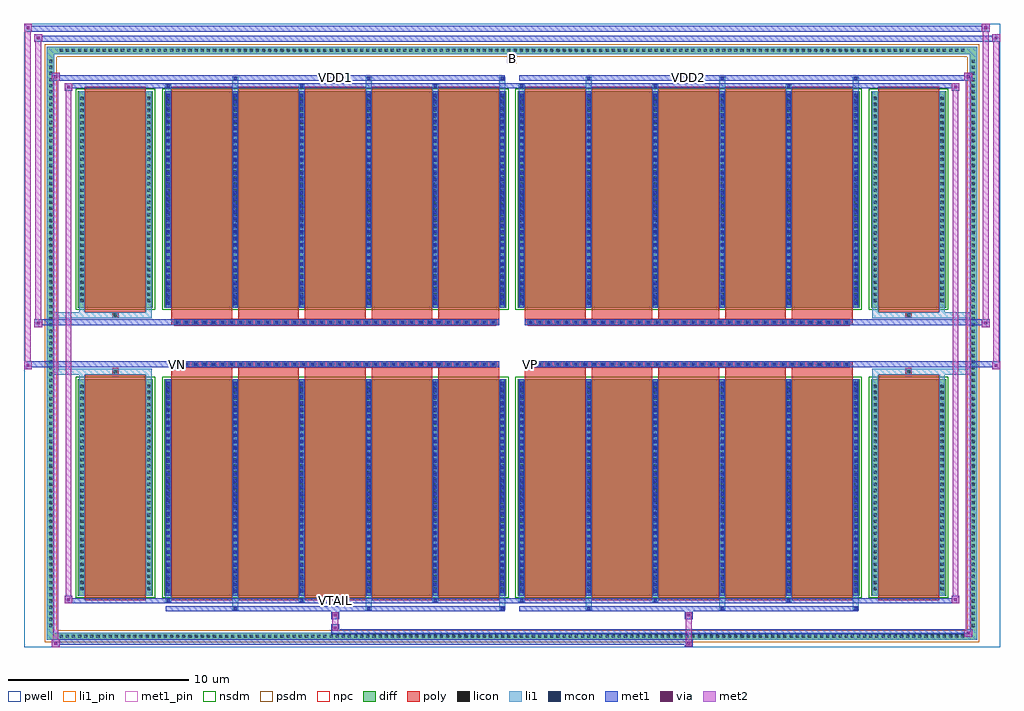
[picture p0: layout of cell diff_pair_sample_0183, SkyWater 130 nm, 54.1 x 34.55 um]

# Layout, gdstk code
import gdstk
lib = gdstk.Library(unit=1e-6, precision=5e-09)
def R(c, l, rs):  # rectangles x0, y0, x1, y1
    for r in rs: c.add(gdstk.rectangle(r[:2], r[2:], *l))
def A(c, l, x, y, w, h, nx, ny, dx, dy):  # array of equal rectangles
    R(c, l, [(x+i*dx, y+j*dy, x+i*dx+w, y+j*dy+h) for i in range(nx) for j in range(ny)])
def P(c, l, *ps):  # polygons
    for p in ps: c.add(gdstk.Polygon(p, *l))
pwell = (64, 44)
diff = (65, 20)
poly = (66, 20)
licon = (66, 44)
li1_pin = (67, 16)
li1 = (67, 20)
mcon = (67, 44)
met1_pin = (68, 16)
met1 = (68, 20)
via = (68, 44)
met2 = (69, 20)
nsdm = (93, 44)
psdm = (94, 20)
npc = (95, 20)

diff_pair_sample_0183 = lib.new_cell('diff_pair_sample_0183')
R(diff_pair_sample_0183, pwell, [(-27.05,-16.84,27.05,17.71), (-24.37,-15.03,-0.01,-0.805), (0.01,-15.03,24.37,-0.805), (-24.37,0.805,-0.01,15.03), (0.01,0.805,24.37,15.03)])
A(diff_pair_sample_0183, diff, -25.195, -16.44, 0.41, 0.41, 148, 2, 0.34, 32.47)
A(diff_pair_sample_0183, diff, -25.78, -15.845, 0.41, 0.41, 1, 93, 0, 0.34)
A(diff_pair_sample_0183, diff, 25.37, -15.845, 0.41, 0.41, 1, 93, 0, 0.34)
R(diff_pair_sample_0183, diff, [(-25.195,-16.44,25.195,-16.03), (-25.78,-15.845,-25.37,15.845), (25.37,-15.845,25.78,15.845), (-24.06,-13.985,-19.91,-1.985), (-19.27,-13.985,-0.32,-1.985), (0.32,-13.985,19.27,-1.985), (19.91,-13.985,24.06,-1.985), (-24.06,1.985,-19.91,13.985), (-19.27,1.985,-0.32,13.985), (0.32,1.985,19.27,13.985), (19.91,1.985,24.06,13.985), (-25.195,16.03,25.195,16.44)])
P(diff_pair_sample_0183, diff, [(25.78,16.44),(-25.78,16.44),(-25.78,-16.03),(-25.37,-16.03),(-25.37,16.03),(25.37,16.03),(25.37,-16.03),(-25.37,-16.03),(-25.78,-16.03),(-25.78,-16.44),(25.78,-16.44)])
A(diff_pair_sample_0183, poly, -18.88, -14.235, 3.37, 12.5, 5, 2, 3.7, 15.97)
A(diff_pair_sample_0183, poly, 0.71, -14.235, 3.37, 12.5, 5, 2, 3.7, 15.97)
A(diff_pair_sample_0183, poly, -18.88, -1.735, 3.37, 0.4, 5, 2, 3.7, 3.07)
A(diff_pair_sample_0183, poly, 0.71, -1.735, 3.37, 0.4, 5, 2, 3.7, 3.07)
A(diff_pair_sample_0183, poly, -18.71, -1.335, 0.33, 0.33, 36, 2, 0.5, 2.34)
A(diff_pair_sample_0183, poly, 0.88, -1.335, 0.33, 0.33, 36, 2, 0.5, 2.34)
R(diff_pair_sample_0183, poly, [(-23.67,-14.235,-20.3,-1.735), (20.3,-14.235,23.67,-1.735), (-22.15,-1.735,-21.82,-1.405), (-22.15,-1.735,-21.82,-1.405), (21.82,-1.735,22.15,-1.405), (21.82,-1.735,22.15,-1.405), (-18.88,-1.335,-0.71,-1.005), (0.71,-1.335,18.88,-1.005), (-18.88,1.005,-0.71,1.335), (0.71,1.005,18.88,1.335), (-22.15,1.405,-21.82,1.735), (-22.15,1.405,-21.82,1.735), (21.82,1.405,22.15,1.735), (21.82,1.405,22.15,1.735), (-23.67,1.735,-20.3,14.235), (20.3,1.735,23.67,14.235)])
A(diff_pair_sample_0183, licon, -25.075, -16.32, 0.17, 0.17, 148, 2, 0.34, 32.47)
A(diff_pair_sample_0183, licon, -25.66, -15.725, 0.17, 0.17, 1, 93, 0, 0.34)
A(diff_pair_sample_0183, licon, 25.49, -15.725, 0.17, 0.17, 1, 93, 0, 0.34)
A(diff_pair_sample_0183, licon, -23.92, -13.68, 0.17, 0.17, 1, 34, 0, 0.34)
A(diff_pair_sample_0183, licon, -20.22, -13.68, 0.17, 0.17, 1, 34, 0, 0.34)
A(diff_pair_sample_0183, licon, -19.13, -13.68, 0.17, 0.17, 6, 34, 3.7, 0.34)
A(diff_pair_sample_0183, licon, 0.46, -13.68, 0.17, 0.17, 6, 34, 3.7, 0.34)
A(diff_pair_sample_0183, licon, 20.05, -13.68, 0.17, 0.17, 1, 34, 0, 0.34)
A(diff_pair_sample_0183, licon, 23.75, -13.68, 0.17, 0.17, 1, 34, 0, 0.34)
A(diff_pair_sample_0183, licon, -18.63, -1.255, 0.17, 0.17, 36, 2, 0.5, 2.34)
A(diff_pair_sample_0183, licon, 0.96, -1.255, 0.17, 0.17, 36, 2, 0.5, 2.34)
A(diff_pair_sample_0183, licon, -23.92, 2.29, 0.17, 0.17, 1, 34, 0, 0.34)
A(diff_pair_sample_0183, licon, -20.22, 2.29, 0.17, 0.17, 1, 34, 0, 0.34)
A(diff_pair_sample_0183, licon, -19.13, 2.29, 0.17, 0.17, 6, 34, 3.7, 0.34)
A(diff_pair_sample_0183, licon, 0.46, 2.29, 0.17, 0.17, 6, 34, 3.7, 0.34)
A(diff_pair_sample_0183, licon, 20.05, 2.29, 0.17, 0.17, 1, 34, 0, 0.34)
A(diff_pair_sample_0183, licon, 23.75, 2.29, 0.17, 0.17, 1, 34, 0, 0.34)
R(diff_pair_sample_0183, licon, [(-22.07,-1.655,-21.9,-1.485), (21.9,-1.655,22.07,-1.485), (-22.07,1.485,-21.9,1.655), (21.9,1.485,22.07,1.655)])
R(diff_pair_sample_0183, li1_pin, [(-0.25,15.53,0.25,16.03)])
A(diff_pair_sample_0183, li1, -25.155, -16.4, 0.33, 0.33, 148, 2, 0.34, 32.47)
A(diff_pair_sample_0183, li1, -25.74, -15.805, 0.33, 0.33, 1, 93, 0, 0.34)
A(diff_pair_sample_0183, li1, 25.41, -15.805, 0.33, 0.33, 1, 93, 0, 0.34)
A(diff_pair_sample_0183, li1, -15.51, -14.79, 0.33, 0.805, 3, 2, 7.4, 28.775)
A(diff_pair_sample_0183, li1, -15.43, -14.79, 0.17, 0.17, 3, 2, 7.4, 29.41)
A(diff_pair_sample_0183, li1, 4.08, -14.79, 0.33, 0.805, 3, 2, 7.4, 28.775)
A(diff_pair_sample_0183, li1, 4.16, -14.79, 0.17, 0.17, 3, 2, 7.4, 29.41)
A(diff_pair_sample_0183, li1, -19.21, -14.36, 0.33, 0.375, 3, 2, 7.4, 28.345)
A(diff_pair_sample_0183, li1, -19.13, -14.36, 0.17, 0.17, 3, 2, 7.4, 28.55)
A(diff_pair_sample_0183, li1, 0.38, -14.36, 0.33, 0.375, 3, 2, 7.4, 28.345)
A(diff_pair_sample_0183, li1, 0.46, -14.36, 0.17, 0.17, 3, 2, 7.4, 28.55)
A(diff_pair_sample_0183, li1, -19.21, -13.985, 0.33, 12, 6, 2, 3.7, 15.97)
A(diff_pair_sample_0183, li1, 0.38, -13.985, 0.33, 12, 6, 2, 3.7, 15.97)
A(diff_pair_sample_0183, li1, -19.13, -13.83, 0.17, 0.17, 6, 33, 3.7, 0.36)
A(diff_pair_sample_0183, li1, -19.13, -13.83, 0.17, 11.69, 6, 2, 3.7, 15.97)
A(diff_pair_sample_0183, li1, 0.46, -13.83, 0.17, 0.17, 6, 33, 3.7, 0.36)
A(diff_pair_sample_0183, li1, 0.46, -13.83, 0.17, 11.69, 6, 2, 3.7, 15.97)
A(diff_pair_sample_0183, li1, -24, -13.76, 0.33, 0.33, 1, 34, 0, 0.34)
A(diff_pair_sample_0183, li1, -20.3, -13.76, 0.33, 0.33, 1, 34, 0, 0.34)
A(diff_pair_sample_0183, li1, -19.21, -13.76, 0.33, 0.33, 6, 34, 3.7, 0.34)
A(diff_pair_sample_0183, li1, 0.38, -13.76, 0.33, 0.33, 6, 34, 3.7, 0.34)
A(diff_pair_sample_0183, li1, 19.97, -13.76, 0.33, 0.33, 1, 34, 0, 0.34)
A(diff_pair_sample_0183, li1, 23.67, -13.76, 0.33, 0.33, 1, 34, 0, 0.34)
A(diff_pair_sample_0183, li1, -18.71, -1.335, 0.33, 0.33, 36, 2, 0.5, 2.34)
A(diff_pair_sample_0183, li1, 0.88, -1.335, 0.33, 0.33, 36, 2, 0.5, 2.34)
A(diff_pair_sample_0183, li1, -19.13, 2.14, 0.17, 0.17, 6, 33, 3.7, 0.36)
A(diff_pair_sample_0183, li1, 0.46, 2.14, 0.17, 0.17, 6, 33, 3.7, 0.36)
A(diff_pair_sample_0183, li1, -24, 2.21, 0.33, 0.33, 1, 34, 0, 0.34)
A(diff_pair_sample_0183, li1, -20.3, 2.21, 0.33, 0.33, 1, 34, 0, 0.34)
A(diff_pair_sample_0183, li1, -19.21, 2.21, 0.33, 0.33, 6, 34, 3.7, 0.34)
A(diff_pair_sample_0183, li1, 0.38, 2.21, 0.33, 0.33, 6, 34, 3.7, 0.34)
A(diff_pair_sample_0183, li1, 19.97, 2.21, 0.33, 0.33, 1, 34, 0, 0.34)
A(diff_pair_sample_0183, li1, 23.67, 2.21, 0.33, 0.33, 1, 34, 0, 0.34)
R(diff_pair_sample_0183, li1, [(-25.78,-16.44,-25.37,-16.03), (-25.78,-16.44,-25.37,-16.03), (-25.37,-16.44,25.37,-16.03), (25.37,-16.44,25.78,-16.03), (25.37,-16.44,25.78,-16.03), (-25.78,-16.03,-25.37,16.03), (25.37,-16.03,25.78,16.03), (-24,-13.985,-23.67,-1.985), (-20.3,-13.985,-19.97,-1.985), (19.97,-13.985,20.3,-1.985), (23.67,-13.985,24,-1.985), (-24,-1.985,-23.67,-1.405), (-20.3,-1.985,-19.97,-1.405), (19.97,-1.985,20.3,-1.405), (23.67,-1.985,24,-1.405), (-25.78,-1.735,-22.15,-1.405), (-24,-1.735,-22.15,-1.405), (-22.15,-1.735,-21.82,-1.405), (-21.82,-1.735,-19.97,-1.405), (19.97,-1.735,21.82,-1.405), (21.82,-1.735,22.15,-1.405), (21.82,-1.735,25.78,-1.405), (22.15,-1.735,24,-1.405), (-25.78,1.405,-22.15,1.735), (-24,1.405,-22.15,1.735), (-24,1.405,-23.67,1.985), (-22.15,1.405,-21.82,1.735), (-21.82,1.405,-19.97,1.735), (-20.3,1.405,-19.97,1.985), (19.97,1.405,21.82,1.735), (19.97,1.405,20.3,1.985), (21.82,1.405,22.15,1.735), (21.82,1.405,25.78,1.735), (22.15,1.405,24,1.735), (23.67,1.405,24,1.985), (-24,1.985,-23.67,13.985), (-20.3,1.985,-19.97,13.985), (19.97,1.985,20.3,13.985), (23.67,1.985,24,13.985), (-25.78,16.03,-25.37,16.44), (-25.78,16.03,-25.37,16.44), (-25.37,16.03,25.37,16.44), (25.37,16.03,25.78,16.44), (25.37,16.03,25.78,16.44)])
A(diff_pair_sample_0183, mcon, -15.43, -14.79, 0.17, 0.17, 3, 2, 7.4, 29.41)
A(diff_pair_sample_0183, mcon, 4.16, -14.79, 0.17, 0.17, 3, 2, 7.4, 29.41)
A(diff_pair_sample_0183, mcon, -19.13, -14.36, 0.17, 0.17, 3, 2, 7.4, 28.55)
A(diff_pair_sample_0183, mcon, 0.46, -14.36, 0.17, 0.17, 3, 2, 7.4, 28.55)
A(diff_pair_sample_0183, mcon, -19.13, -13.83, 0.17, 0.17, 6, 33, 3.7, 0.36)
A(diff_pair_sample_0183, mcon, 0.46, -13.83, 0.17, 0.17, 6, 33, 3.7, 0.36)
A(diff_pair_sample_0183, mcon, -18.63, -1.255, 0.17, 0.17, 36, 2, 0.5, 2.34)
A(diff_pair_sample_0183, mcon, 0.96, -1.255, 0.17, 0.17, 36, 2, 0.5, 2.34)
A(diff_pair_sample_0183, mcon, -19.13, 2.14, 0.17, 0.17, 6, 33, 3.7, 0.36)
A(diff_pair_sample_0183, mcon, 0.46, 2.14, 0.17, 0.17, 6, 33, 3.7, 0.36)
R(diff_pair_sample_0183, met1_pin, [(-9.93,-14.4,-9.66,-14.13), (-18.68,-1.295,-18.41,-1.025), (0.91,-1.295,1.18,-1.025), (-9.93,14.58,-9.66,14.85), (9.66,14.58,9.93,14.85)])
A(diff_pair_sample_0183, met1, -15.49, -14.85, 0.29, 0.29, 3, 2, 7.4, 29.41)
A(diff_pair_sample_0183, met1, 4.1, -14.85, 0.29, 0.29, 3, 2, 7.4, 29.41)
A(diff_pair_sample_0183, met1, -19.19, -14.42, 0.29, 0.29, 3, 2, 7.4, 28.55)
A(diff_pair_sample_0183, met1, 0.4, -14.42, 0.29, 0.29, 3, 2, 7.4, 28.55)
A(diff_pair_sample_0183, met1, -19.19, -13.985, 0.29, 12, 6, 2, 3.7, 15.97)
A(diff_pair_sample_0183, met1, 0.4, -13.985, 0.29, 12, 6, 2, 3.7, 15.97)
A(diff_pair_sample_0183, met1, -19.19, -13.89, 0.29, 0.29, 6, 33, 3.7, 0.36)
A(diff_pair_sample_0183, met1, 0.4, -13.89, 0.29, 0.29, 6, 33, 3.7, 0.36)
A(diff_pair_sample_0183, met1, -18.69, -1.315, 0.29, 0.29, 36, 2, 0.5, 2.34)
A(diff_pair_sample_0183, met1, 0.9, -1.315, 0.29, 0.29, 36, 2, 0.5, 2.34)
A(diff_pair_sample_0183, met1, -19.19, 2.08, 0.29, 0.29, 6, 33, 3.7, 0.36)
A(diff_pair_sample_0183, met1, 0.4, 2.08, 0.29, 0.29, 6, 33, 3.7, 0.36)
R(diff_pair_sample_0183, met1, [(-25.51,-16.84,-25.08,-16.41), (9.58,-16.84,10.01,-16.41), (-25.51,-16.7,10.01,-16.41), (25.08,-16.27,25.51,-15.84), (-10.01,-16.13,25.51,-15.84), (-10.01,-15.99,-9.58,-15.56), (-10.01,-15.28,-9.58,-14.85), (9.58,-15.28,10.01,-14.85), (-19.19,-14.85,-0.4,-14.56), (0.4,-14.85,19.19,-14.56), (-24.8,-14.42,-24.37,-13.99), (-24.8,-14.42,-19.19,-14.13), (-19.19,-14.42,-0.4,-14.13), (-0.4,-14.42,0.4,-14.13), (0.4,-14.42,19.19,-14.13), (19.19,-14.42,24.8,-14.13), (24.37,-14.42,24.8,-13.99), (-27.05,-1.435,-26.62,-1.005), (26.62,-1.435,27.05,-1.005), (-27.05,-1.335,-0.71,-1.005), (-18.88,-1.335,-0.71,-1.005), (0.71,-1.335,18.88,-1.005), (0.71,-1.335,27.05,-1.005), (-26.48,0.905,-26.05,1.335), (26.05,0.905,26.48,1.335), (-26.48,1.005,-18.88,1.335), (-18.88,1.005,-0.71,1.335), (0.71,1.005,18.88,1.335), (18.88,1.005,26.48,1.335), (-24.8,13.99,-24.37,14.42), (24.37,13.99,24.8,14.42), (-24.8,14.13,-19.19,14.42), (-19.19,14.13,-0.4,14.42), (-0.4,14.13,0.4,14.42), (0.4,14.13,19.19,14.42), (19.19,14.13,24.8,14.42), (-25.51,14.56,-25.08,14.99), (-25.51,14.56,-19.19,14.85), (-19.19,14.56,-0.4,14.85), (0.4,14.56,19.19,14.85), (19.19,14.56,25.51,14.85), (25.08,14.56,25.51,14.99), (-26.48,16.71,-26.05,17.14), (-26.48,16.71,-24.37,17.04), (-24.37,16.71,24.37,17.04), (24.37,16.71,27.05,17.04), (26.62,16.71,27.05,17.14), (-27.05,17.28,-26.62,17.71), (-27.05,17.28,-24.37,17.61), (-24.37,17.28,24.37,17.61), (24.37,17.28,26.48,17.61), (26.05,17.28,26.48,17.71)])
R(diff_pair_sample_0183, via, [(-25.37,-16.7,-25.22,-16.55), (9.72,-16.7,9.87,-16.55), (25.22,-16.13,25.37,-15.98), (-9.87,-15.85,-9.72,-15.7), (-9.87,-15.14,-9.72,-14.99), (9.72,-15.14,9.87,-14.99), (-24.66,-14.28,-24.51,-14.13), (24.51,-14.28,24.66,-14.13), (-26.91,-1.295,-26.76,-1.145), (26.76,-1.295,26.91,-1.145), (-26.34,1.045,-26.19,1.195), (26.19,1.045,26.34,1.195), (-24.66,14.13,-24.51,14.28), (24.51,14.13,24.66,14.28), (-25.37,14.7,-25.22,14.85), (25.22,14.7,25.37,14.85), (-26.34,16.85,-26.19,17), (26.76,16.85,26.91,17), (-26.91,17.42,-26.76,17.57), (26.19,17.42,26.34,17.57)])
R(diff_pair_sample_0183, met2, [(-25.51,-16.84,-25.08,-16.41), (-25.44,-16.84,-25.15,14.99), (-25.15,-16.84,-25.08,-16.41), (-25.46,-16.79,-25.13,-16.46), (9.63,-16.79,9.96,-16.46), (9.63,-16.46,9.96,-15.23), (25.08,-16.27,25.51,-15.84), (25.15,-16.27,25.44,14.99), (25.44,-16.27,25.51,-15.84), (25.13,-16.22,25.46,-15.89), (-9.96,-15.94,-9.63,-15.61), (-9.96,-15.61,-9.63,-15.23), (-9.96,-15.23,-9.63,-14.9), (9.63,-15.23,9.96,-14.9), (-24.8,-14.42,-24.37,-13.99), (-24.73,-14.42,-24.44,14.42), (-24.44,-14.42,-24.37,-13.99), (24.37,-14.42,24.8,-13.99), (24.44,-14.42,24.73,14.42), (24.73,-14.42,24.8,-13.99), (-24.75,-14.37,-24.42,-14.04), (24.42,-14.37,24.75,-14.04), (-27.05,-1.435,-26.62,-1.005), (-27,-1.435,-26.67,17.71), (-26.67,-1.435,-26.62,-1.005), (26.62,-1.435,27.05,-1.005), (26.67,-1.435,27,17.14), (27,-1.435,27.05,-1.005), (-27,-1.385,-26.67,-1.055), (26.67,-1.385,27,-1.055), (-26.48,0.905,-26.05,1.335), (-26.43,0.905,-26.1,17.14), (-26.1,0.905,-26.05,1.335), (26.05,0.905,26.48,1.335), (26.1,0.905,26.43,17.71), (26.43,0.905,26.48,1.335), (-26.43,0.955,-26.1,1.285), (26.1,0.955,26.43,1.285), (-24.8,13.99,-24.37,14.42), (-24.44,13.99,-24.37,14.42), (24.37,13.99,24.8,14.42), (24.73,13.99,24.8,14.42), (-24.75,14.04,-24.42,14.37), (24.42,14.04,24.75,14.37), (-25.51,14.56,-25.08,14.99), (-25.15,14.56,-25.08,14.99), (25.08,14.56,25.51,14.99), (25.44,14.56,25.51,14.99), (-25.46,14.61,-25.13,14.94), (25.13,14.61,25.46,14.94), (-26.48,16.71,-26.05,17.14), (-26.1,16.71,-26.05,17.14), (26.62,16.71,27.05,17.14), (27,16.71,27.05,17.14), (-26.43,16.76,-26.1,17.09), (26.67,16.76,27,17.09), (-27.05,17.28,-26.62,17.71), (-26.67,17.28,-26.62,17.71), (26.05,17.28,26.48,17.71), (26.43,17.28,26.48,17.71), (-27,17.33,-26.67,17.66), (26.1,17.33,26.43,17.66)])
R(diff_pair_sample_0183, nsdm, [(-24.19,-14.115,-19.78,-1.855), (-19.4,-14.115,-0.19,-1.855), (0.19,-14.115,19.4,-1.855), (19.78,-14.115,24.19,-1.855), (-24.19,1.855,-19.78,14.115), (-19.4,1.855,-0.19,14.115), (0.19,1.855,19.4,14.115), (19.78,1.855,24.19,14.115)])
P(diff_pair_sample_0183, psdm, [(25.91,16.57),(-25.91,16.57),(-25.91,-15.9),(-25.24,-15.9),(-25.24,15.9),(25.24,15.9),(25.24,-15.9),(-25.24,-15.9),(-25.91,-15.9),(-25.91,-16.57),(25.91,-16.57)])
A(diff_pair_sample_0183, npc, -18.73, -1.355, 0.37, 0.37, 36, 2, 0.5, 2.34)
A(diff_pair_sample_0183, npc, 0.86, -1.355, 0.37, 0.37, 36, 2, 0.5, 2.34)
R(diff_pair_sample_0183, npc, [(-22.17,-1.755,-21.8,-1.385), (21.8,-1.755,22.17,-1.385), (-18.73,-1.355,-17.86,-0.985), (-18.73,-1.355,-17.86,-0.985), (-18.23,-1.355,-17.36,-0.985), (-18.23,-1.355,-17.36,-0.985), (-17.73,-1.355,-16.86,-0.985), (-17.73,-1.355,-16.86,-0.985), (-17.23,-1.355,-16.36,-0.985), (-17.23,-1.355,-16.36,-0.985), (-16.73,-1.355,-15.86,-0.985), (-16.73,-1.355,-15.86,-0.985), (-16.23,-1.355,-15.36,-0.985), (-16.23,-1.355,-15.36,-0.985), (-15.73,-1.355,-14.86,-0.985), (-15.73,-1.355,-14.86,-0.985), (-15.23,-1.355,-14.36,-0.985), (-15.23,-1.355,-14.36,-0.985), (-14.73,-1.355,-13.86,-0.985), (-14.73,-1.355,-13.86,-0.985), (-14.23,-1.355,-13.36,-0.985), (-14.23,-1.355,-13.36,-0.985), (-13.73,-1.355,-12.86,-0.985), (-13.73,-1.355,-12.86,-0.985), (-13.23,-1.355,-12.36,-0.985), (-13.23,-1.355,-12.36,-0.985), (-12.73,-1.355,-11.86,-0.985), (-12.73,-1.355,-11.86,-0.985), (-12.23,-1.355,-11.36,-0.985), (-12.23,-1.355,-11.36,-0.985), (-11.73,-1.355,-10.86,-0.985), (-11.73,-1.355,-10.86,-0.985), (-11.23,-1.355,-10.36,-0.985), (-11.23,-1.355,-10.36,-0.985), (-10.73,-1.355,-9.86,-0.985), (-10.73,-1.355,-9.86,-0.985), (-10.23,-1.355,-9.36,-0.985), (-10.23,-1.355,-9.36,-0.985), (-9.73,-1.355,-8.86,-0.985), (-9.73,-1.355,-8.86,-0.985), (-9.23,-1.355,-8.36,-0.985), (-9.23,-1.355,-8.36,-0.985), (-8.73,-1.355,-7.86,-0.985), (-8.73,-1.355,-7.86,-0.985), (-8.23,-1.355,-7.36,-0.985), (-8.23,-1.355,-7.36,-0.985), (-7.73,-1.355,-6.86,-0.985), (-7.73,-1.355,-6.86,-0.985), (-7.23,-1.355,-6.36,-0.985), (-7.23,-1.355,-6.36,-0.985), (-6.73,-1.355,-5.86,-0.985), (-6.73,-1.355,-5.86,-0.985), (-6.23,-1.355,-5.36,-0.985), (-6.23,-1.355,-5.36,-0.985), (-5.73,-1.355,-4.86,-0.985), (-5.73,-1.355,-4.86,-0.985), (-5.23,-1.355,-4.36,-0.985), (-5.23,-1.355,-4.36,-0.985), (-4.73,-1.355,-3.86,-0.985), (-4.73,-1.355,-3.86,-0.985), (-4.23,-1.355,-3.36,-0.985), (-4.23,-1.355,-3.36,-0.985), (-3.73,-1.355,-2.86,-0.985), (-3.73,-1.355,-2.86,-0.985), (-3.23,-1.355,-2.36,-0.985), (-3.23,-1.355,-2.36,-0.985), (-2.73,-1.355,-1.86,-0.985), (-2.73,-1.355,-1.86,-0.985), (-2.23,-1.355,-1.36,-0.985), (-2.23,-1.355,-1.36,-0.985), (-1.73,-1.355,-0.86,-0.985), (-1.73,-1.355,-0.86,-0.985), (0.86,-1.355,1.73,-0.985), (0.86,-1.355,1.73,-0.985), (1.36,-1.355,2.23,-0.985), (1.36,-1.355,2.23,-0.985), (1.86,-1.355,2.73,-0.985), (1.86,-1.355,2.73,-0.985), (2.36,-1.355,3.23,-0.985), (2.36,-1.355,3.23,-0.985), (2.86,-1.355,3.73,-0.985), (2.86,-1.355,3.73,-0.985), (3.36,-1.355,4.23,-0.985), (3.36,-1.355,4.23,-0.985), (3.86,-1.355,4.73,-0.985), (3.86,-1.355,4.73,-0.985), (4.36,-1.355,5.23,-0.985), (4.36,-1.355,5.23,-0.985), (4.86,-1.355,5.73,-0.985), (4.86,-1.355,5.73,-0.985), (5.36,-1.355,6.23,-0.985), (5.36,-1.355,6.23,-0.985), (5.86,-1.355,6.73,-0.985), (5.86,-1.355,6.73,-0.985), (6.36,-1.355,7.23,-0.985), (6.36,-1.355,7.23,-0.985), (6.86,-1.355,7.73,-0.985), (6.86,-1.355,7.73,-0.985), (7.36,-1.355,8.23,-0.985), (7.36,-1.355,8.23,-0.985), (7.86,-1.355,8.73,-0.985), (7.86,-1.355,8.73,-0.985), (8.36,-1.355,9.23,-0.985), (8.36,-1.355,9.23,-0.985), (8.86,-1.355,9.73,-0.985), (8.86,-1.355,9.73,-0.985), (9.36,-1.355,10.23,-0.985), (9.36,-1.355,10.23,-0.985), (9.86,-1.355,10.73,-0.985), (9.86,-1.355,10.73,-0.985), (10.36,-1.355,11.23,-0.985), (10.36,-1.355,11.23,-0.985), (10.86,-1.355,11.73,-0.985), (10.86,-1.355,11.73,-0.985), (11.36,-1.355,12.23,-0.985), (11.36,-1.355,12.23,-0.985), (11.86,-1.355,12.73,-0.985), (11.86,-1.355,12.73,-0.985), (12.36,-1.355,13.23,-0.985), (12.36,-1.355,13.23,-0.985), (12.86,-1.355,13.73,-0.985), (12.86,-1.355,13.73,-0.985), (13.36,-1.355,14.23,-0.985), (13.36,-1.355,14.23,-0.985), (13.86,-1.355,14.73,-0.985), (13.86,-1.355,14.73,-0.985), (14.36,-1.355,15.23,-0.985), (14.36,-1.355,15.23,-0.985), (14.86,-1.355,15.73,-0.985), (14.86,-1.355,15.73,-0.985), (15.36,-1.355,16.23,-0.985), (15.36,-1.355,16.23,-0.985), (15.86,-1.355,16.73,-0.985), (15.86,-1.355,16.73,-0.985), (16.36,-1.355,17.23,-0.985), (16.36,-1.355,17.23,-0.985), (16.86,-1.355,17.73,-0.985), (16.86,-1.355,17.73,-0.985), (17.36,-1.355,18.23,-0.985), (17.36,-1.355,18.23,-0.985), (17.86,-1.355,18.73,-0.985), (17.86,-1.355,18.73,-0.985), (-18.73,0.985,-17.86,1.355), (-18.73,0.985,-17.86,1.355), (-18.23,0.985,-17.36,1.355), (-18.23,0.985,-17.36,1.355), (-17.73,0.985,-16.86,1.355), (-17.73,0.985,-16.86,1.355), (-17.23,0.985,-16.36,1.355), (-17.23,0.985,-16.36,1.355), (-16.73,0.985,-15.86,1.355), (-16.73,0.985,-15.86,1.355), (-16.23,0.985,-15.36,1.355), (-16.23,0.985,-15.36,1.355), (-15.73,0.985,-14.86,1.355), (-15.73,0.985,-14.86,1.355), (-15.23,0.985,-14.36,1.355), (-15.23,0.985,-14.36,1.355), (-14.73,0.985,-13.86,1.355), (-14.73,0.985,-13.86,1.355), (-14.23,0.985,-13.36,1.355), (-14.23,0.985,-13.36,1.355), (-13.73,0.985,-12.86,1.355), (-13.73,0.985,-12.86,1.355), (-13.23,0.985,-12.36,1.355), (-13.23,0.985,-12.36,1.355), (-12.73,0.985,-11.86,1.355), (-12.73,0.985,-11.86,1.355), (-12.23,0.985,-11.36,1.355), (-12.23,0.985,-11.36,1.355), (-11.73,0.985,-10.86,1.355), (-11.73,0.985,-10.86,1.355), (-11.23,0.985,-10.36,1.355), (-11.23,0.985,-10.36,1.355), (-10.73,0.985,-9.86,1.355), (-10.73,0.985,-9.86,1.355), (-10.23,0.985,-9.36,1.355), (-10.23,0.985,-9.36,1.355), (-9.73,0.985,-8.86,1.355), (-9.73,0.985,-8.86,1.355), (-9.23,0.985,-8.36,1.355), (-9.23,0.985,-8.36,1.355), (-8.73,0.985,-7.86,1.355), (-8.73,0.985,-7.86,1.355), (-8.23,0.985,-7.36,1.355), (-8.23,0.985,-7.36,1.355), (-7.73,0.985,-6.86,1.355), (-7.73,0.985,-6.86,1.355), (-7.23,0.985,-6.36,1.355), (-7.23,0.985,-6.36,1.355), (-6.73,0.985,-5.86,1.355), (-6.73,0.985,-5.86,1.355), (-6.23,0.985,-5.36,1.355), (-6.23,0.985,-5.36,1.355), (-5.73,0.985,-4.86,1.355), (-5.73,0.985,-4.86,1.355), (-5.23,0.985,-4.36,1.355), (-5.23,0.985,-4.36,1.355), (-4.73,0.985,-3.86,1.355), (-4.73,0.985,-3.86,1.355), (-4.23,0.985,-3.36,1.355), (-4.23,0.985,-3.36,1.355), (-3.73,0.985,-2.86,1.355), (-3.73,0.985,-2.86,1.355), (-3.23,0.985,-2.36,1.355), (-3.23,0.985,-2.36,1.355), (-2.73,0.985,-1.86,1.355), (-2.73,0.985,-1.86,1.355), (-2.23,0.985,-1.36,1.355), (-2.23,0.985,-1.36,1.355), (-1.73,0.985,-0.86,1.355), (-1.73,0.985,-0.86,1.355), (0.86,0.985,1.73,1.355), (0.86,0.985,1.73,1.355), (1.36,0.985,2.23,1.355), (1.36,0.985,2.23,1.355), (1.86,0.985,2.73,1.355), (1.86,0.985,2.73,1.355), (2.36,0.985,3.23,1.355), (2.36,0.985,3.23,1.355), (2.86,0.985,3.73,1.355), (2.86,0.985,3.73,1.355), (3.36,0.985,4.23,1.355), (3.36,0.985,4.23,1.355), (3.86,0.985,4.73,1.355), (3.86,0.985,4.73,1.355), (4.36,0.985,5.23,1.355), (4.36,0.985,5.23,1.355), (4.86,0.985,5.73,1.355), (4.86,0.985,5.73,1.355), (5.36,0.985,6.23,1.355), (5.36,0.985,6.23,1.355), (5.86,0.985,6.73,1.355), (5.86,0.985,6.73,1.355), (6.36,0.985,7.23,1.355), (6.36,0.985,7.23,1.355), (6.86,0.985,7.73,1.355), (6.86,0.985,7.73,1.355), (7.36,0.985,8.23,1.355), (7.36,0.985,8.23,1.355), (7.86,0.985,8.73,1.355), (7.86,0.985,8.73,1.355), (8.36,0.985,9.23,1.355), (8.36,0.985,9.23,1.355), (8.86,0.985,9.73,1.355), (8.86,0.985,9.73,1.355), (9.36,0.985,10.23,1.355), (9.36,0.985,10.23,1.355), (9.86,0.985,10.73,1.355), (9.86,0.985,10.73,1.355), (10.36,0.985,11.23,1.355), (10.36,0.985,11.23,1.355), (10.86,0.985,11.73,1.355), (10.86,0.985,11.73,1.355), (11.36,0.985,12.23,1.355), (11.36,0.985,12.23,1.355), (11.86,0.985,12.73,1.355), (11.86,0.985,12.73,1.355), (12.36,0.985,13.23,1.355), (12.36,0.985,13.23,1.355), (12.86,0.985,13.73,1.355), (12.86,0.985,13.73,1.355), (13.36,0.985,14.23,1.355), (13.36,0.985,14.23,1.355), (13.86,0.985,14.73,1.355), (13.86,0.985,14.73,1.355), (14.36,0.985,15.23,1.355), (14.36,0.985,15.23,1.355), (14.86,0.985,15.73,1.355), (14.86,0.985,15.73,1.355), (15.36,0.985,16.23,1.355), (15.36,0.985,16.23,1.355), (15.86,0.985,16.73,1.355), (15.86,0.985,16.73,1.355), (16.36,0.985,17.23,1.355), (16.36,0.985,17.23,1.355), (16.86,0.985,17.73,1.355), (16.86,0.985,17.73,1.355), (17.36,0.985,18.23,1.355), (17.36,0.985,18.23,1.355), (17.86,0.985,18.73,1.355), (17.86,0.985,18.73,1.355), (-22.17,1.385,-21.8,1.755), (21.8,1.385,22.17,1.755)])
diff_pair_sample_0183.add(gdstk.Label('VTAIL', (-9.795,-14.265), layer=68, texttype=5))
diff_pair_sample_0183.add(gdstk.Label('VN', (-18.545,-1.16), layer=68, texttype=5))
diff_pair_sample_0183.add(gdstk.Label('VP', (1.045,-1.16), layer=68, texttype=5))
diff_pair_sample_0183.add(gdstk.Label('B', (0,15.78), layer=67, texttype=5))
diff_pair_sample_0183.add(gdstk.Label('VDD2', (9.795,14.715), layer=68, texttype=5))
diff_pair_sample_0183.add(gdstk.Label('VDD1', (-9.795,14.715), layer=68, texttype=5))

lib.write_gds('diff_pair_sample_0183.gds')
